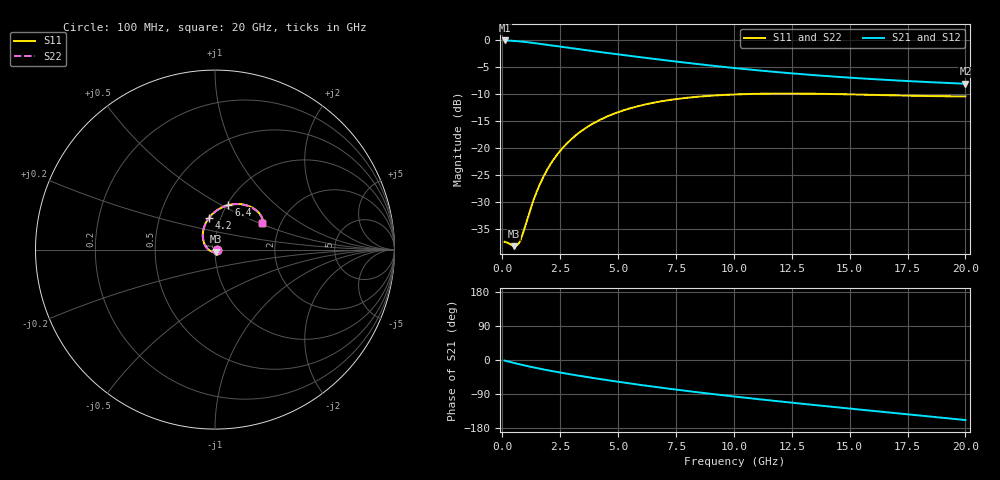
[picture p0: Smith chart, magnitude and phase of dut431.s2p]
! Touchstone file exported from HFSS 2024.1.0
!  File:  C:/UserFiles/LocalFiles/RDL_TSV_Batchsim/temp_RDL_TSV_431_1779719798.aedt
!  Generated:  10:53:52 PM May 25, 2026
!  Design:  RDL_TSV
!  Project:  temp_RDL_TSV_431_1779719798
!  Setup:  Setup1
!  Solution:  Sweep
! Variables:
!  dtsv = 13.3um
!  hbump = 3um
!  htsv = 77.7um
!  ldown = 290.17um
!  lrdl = 252.84um
!  p = 40
!  p1 = 49.14um
!  rhole = 10um
!  subl = 1881.87um
!  t = 450um
!  tdown = 4.41um
!  trdl = 3.05um
!  viad = 10um
!  wdown = 10.63um
!  wrdl = 17.32um
!  xbump = 18um
# GHz S MA R 50.000000
! Terminal data exported
! Port[1] = TM1_1_T1
! Port[2] = TM1_4_T1
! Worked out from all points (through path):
!   200 points, 100 MHz to 20 GHz, reference 50 ohm
!   highest |S21| = -0.12 dB at 100 MHz (marker M1); lowest = -8.1 dB at 20 GHz (marker M2)
!   group delay of S21, straight-line fit = 20.6 ps
!   lowest |S11| = -38.1 dB at 500 MHz (marker M3), VSWR 1.03, Z = 50.6 - j1.1 ohm
!   |S11| at or under -10 dB: start of sweep to 10.7 GHz; 14.12 GHz to end of sweep
!   |S22| runs from -38.1 to -10.0 dB; largest |S21 - S12| = 1.3e-14
!   S11 on the Smith chart (normalised r, x): 100 MHz: 1.03, -0.00; 4.2 GHz: 0.88, +0.33; 6.4 GHz: 1.02, +0.54; 20 GHz: 1.60, +0.53
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0.1  0.01365 -9.8  0.9858 -1.6  0.9858 -1.6  0.01365 -9.8
! Gamma 0 0 0 0
! Port Impedance 50 0 50 0
0.5  0.01245 -60.9  0.9766 -7.7  0.9766 -7.7  0.01246 -60.9
0.6  0.01249 -78.1  0.9729 -9.2  0.9729 -9.2  0.0125 -78.1
0.7  0.01311 -96.2  0.9688 -10.6  0.9688 -10.6  0.01311 -96.2
0.8  0.01446 -113.8  0.9643 -12.1  0.9643 -12.1  0.01446 -113.7
1.4  0.03543 -178.8  0.9312 -20.2  0.9312 -20.2  0.03537 -178.7
1.7  0.05039 164.6  0.9127 -24.0  0.9127 -24.0  0.0503 164.6
2  0.06656 151.9  0.894 -27.5  0.894 -27.5  0.06644 151.9
2.3  0.08327 141.6  0.8756 -30.9  0.8756 -30.9  0.08311 141.6
2.7  0.1056 130.2  0.8518 -35.2  0.8518 -35.2  0.1054 130.2
3.1  0.1274 120.6  0.8292 -39.4  0.8292 -39.4  0.1271 120.6
3.5  0.1482 112.4  0.8075 -43.4  0.8075 -43.4  0.1479 112.3
4.2  0.1817 100.2  0.7718 -50.1  0.7718 -50.1  0.1813 100.2
5.2  0.222 86.3  0.7244 -59.2  0.7244 -59.2  0.2215 86.3
6.4  0.2591 73.3  0.6725 -69.4  0.6725 -69.4  0.2585 73.2
6.8  0.2689 69.6  0.6564 -72.6  0.6564 -72.6  0.2683 69.5
8.4  0.2976 57.3  0.5981 -84.9  0.5981 -84.9  0.2968 57.2
10.1  0.3133 47.6  0.5465 -96.9  0.5465 -96.9  0.3125 47.5
11.7  0.3187 40.8  0.5069 -107.5  0.5069 -107.5  0.3177 40.7
13.4  0.3179 35.6  0.4729 -118.3  0.4729 -118.3  0.3169 35.5
16.7  0.3077 30.3  0.425 -138.5  0.425 -138.5  0.3066 30.2
20  0.3002 29.9  0.3929 -158.4  0.3929 -158.4  0.2991 29.9
